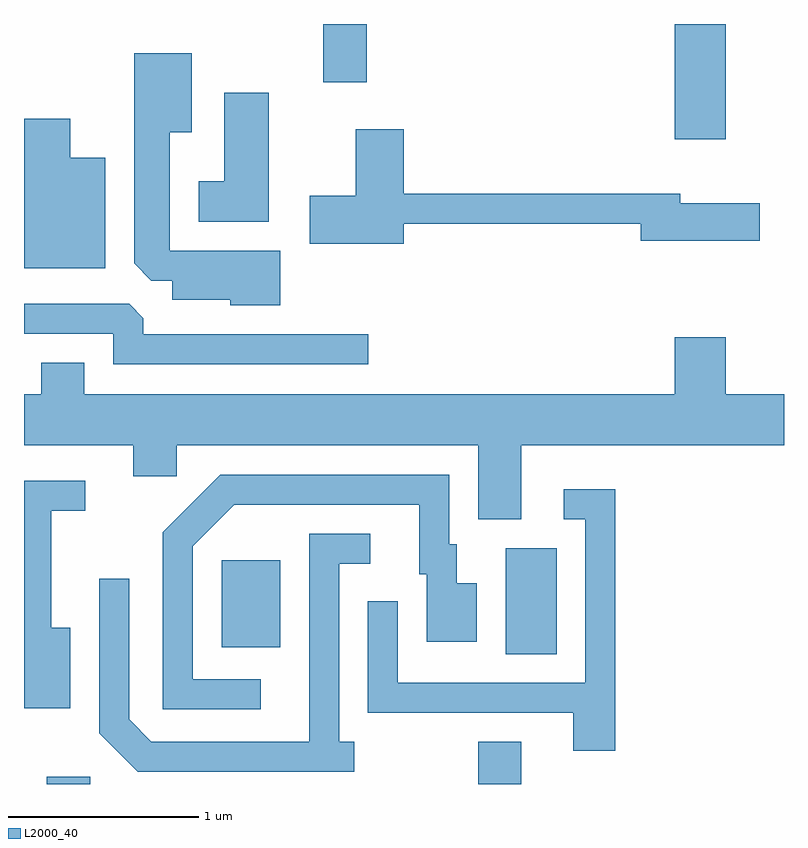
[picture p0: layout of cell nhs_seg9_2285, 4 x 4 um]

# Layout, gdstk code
import gdstk
lib = gdstk.Library(unit=1e-6, precision=1e-09)
def R(c, l, rs):  # rectangles x0, y0, x1, y1
    for r in rs: c.add(gdstk.rectangle(r[:2], r[2:], *l))
def P(c, l, *ps):  # polygons
    for p in ps: c.add(gdstk.Polygon(p, *l))
L2000_40 = (2000, 40)

nhs_seg9_2285 = lib.new_cell('nhs_seg9_2285')
R(nhs_seg9_2285, L2000_40, [(251.731,2034.432,251.959,2034.469), (254.001,2034.432,254.229,2034.654), (254.146,2035.116,254.414,2035.674), (252.651,2035.151,252.959,2035.609), (255.036,2037.826,255.304,2038.432), (253.186,2038.126,253.414,2038.432)])
P(nhs_seg9_2285, L2000_40, [(252.959,2037.239),(252.379,2037.239),(252.379,2037.861),(252.494,2037.861),(252.494,2038.279),(252.191,2038.279),(252.191,2037.172),(252.282,2037.081),(252.391,2037.081),(252.391,2036.981),(252.696,2036.981),(252.696,2036.951),(252.959,2036.951)],
  [(252.899,2038.069),(252.666,2038.069),(252.666,2037.604),(252.531,2037.604),(252.531,2037.391),(252.899,2037.391)],
  [(252.039,2037.729),(251.854,2037.729),(251.854,2037.934),(251.611,2037.934),(251.611,2037.146),(252.039,2037.146)],
  [(253.609,2037.381),(254.856,2037.381),(254.856,2037.291),(255.484,2037.291),(255.484,2037.489),(255.064,2037.489),(255.064,2037.539),(253.609,2037.539),(253.609,2037.879),(253.356,2037.879),(253.356,2037.529),(253.116,2037.529),(253.116,2037.276),(253.609,2037.276)],
  [(253.423,2036.799),(252.239,2036.799),(252.239,2036.884),(252.164,2036.959),(251.611,2036.959),(251.611,2036.801),(252.081,2036.801),(252.081,2036.641),(253.423,2036.641)],
  [(254.229,2036.216),(255.611,2036.216),(255.611,2036.484),(255.304,2036.484),(255.304,2036.784),(255.036,2036.784),(255.036,2036.484),(251.929,2036.484),(251.929,2036.649),(251.701,2036.649),(251.701,2036.484),(251.611,2036.484),(251.611,2036.216),(252.186,2036.216),(252.186,2036.051),(252.414,2036.051),(252.414,2036.216),(254.001,2036.216),(254.001,2035.826),(254.229,2035.826)],
  [(252.858,2034.984),(252.499,2034.984),(252.499,2035.684),(252.717,2035.901),(253.691,2035.901),(253.691,2035.536),(253.731,2035.536),(253.731,2035.181),(253.994,2035.181),(253.994,2035.489),(253.889,2035.489),(253.889,2035.694),(253.849,2035.694),(253.849,2036.059),(252.644,2036.059),(252.341,2035.757),(252.341,2034.826),(252.858,2034.826)],
  [(251.854,2035.254),(251.754,2035.254),(251.754,2035.871),(251.933,2035.871),(251.933,2036.029),(251.611,2036.029),(251.611,2034.831),(251.854,2034.831)],
  [(254.724,2035.984),(254.453,2035.984),(254.453,2035.826),(254.566,2035.826),(254.566,2034.964),(253.579,2034.964),(253.579,2035.393),(253.421,2035.393),(253.421,2034.806),(254.501,2034.806),(254.501,2034.606),(254.724,2034.606)],
  [(253.348,2034.654),(253.269,2034.654),(253.269,2035.591),(253.433,2035.591),(253.433,2035.749),(253.111,2035.749),(253.111,2034.654),(252.282,2034.654),(252.164,2034.772),(252.164,2035.513),(252.006,2035.513),(252.006,2034.699),(252.209,2034.496),(253.348,2034.496)])

lib.write_gds('nhs_seg9_2285.gds')
